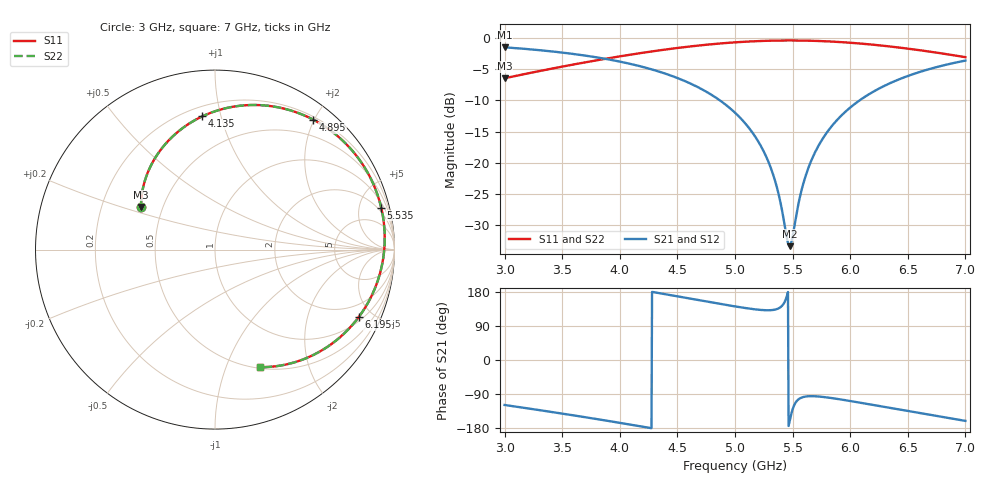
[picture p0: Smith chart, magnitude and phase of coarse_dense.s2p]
! yapnr rf: a12-stub-osh-m-m-eq, footprint re-simulated (optimization grid)
! spec sha256 212370086b4687dca439e447b7498c12f5e0d49e4cea784f2bb96e43c0feaf86
! 2 ports renormalized to 50 ohm, e^(+jwt) convention
# GHz S RI R 50
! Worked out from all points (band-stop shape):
!   811 points, 3 GHz to 7 GHz, reference 50 ohm
!   highest |S21| = -1.49 dB at 3 GHz (marker M1); lowest = -33.4 dB at 5.475 GHz (marker M2)
!   |S21| within 3 dB of the highest: start of sweep to 4.169 GHz; 6.787 GHz to end of sweep
!   lowest |S11| = -6.5 dB at 3 GHz (marker M3), VSWR 2.82, Z = 18.9 + j11.6 ohm
!   |S11| at or under -10 dB: nowhere
!   |S22| runs from -6.5 to -0.4 dB; largest |S21 - S12| = 0
!   S11 on the Smith chart (normalised r, x): 3 GHz: 0.38, +0.23; 4.135 GHz: 0.26, +0.87; 4.895 GHz: 0.24, +1.99; 5.535 GHz: 1.45, +7.77; 6.195 GHz: 1.20, -4.14; 7 GHz: 0.51, -1.33
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3  -0.4123 0.2376  -0.4043 -0.7388  -0.4043 -0.7388  -0.4123 0.2376
3.67  -0.3058 0.5517  -0.6284 -0.3701  -0.6284 -0.3701  -0.3058 0.5517
4.135  -0.0707 0.7424  -0.602 -0.0772  -0.602 -0.0772  -0.0707 0.7424
4.335  0.073 0.7907  -0.5392 0.0296  -0.5392 0.0296  0.073 0.7907
4.625  0.314 0.799  -0.4039 0.1366  -0.4039 0.1366  0.314 0.799
4.895  0.5481 0.7237  -0.2541 0.166  -0.2541 0.166  0.5481 0.7237
5  0.6339 0.6709  -0.197 0.157  -0.197 0.157  0.6339 0.6709
5.18  0.7647 0.5515  -0.1098 0.1158  -0.1098 0.1158  0.7647 0.5515
5.285  0.8277 0.4669  -0.0689 0.0785  -0.0689 0.0785  0.8277 0.4669
5.365  0.8676 0.3964  -0.044 0.0448  -0.044 0.0448  0.8676 0.3964
5.45  0.9015 0.317  -0.0245 0.0051  -0.0245 0.0051  0.9015 0.317
5.475  0.9097 0.2929  -0.0202 -0.00717  -0.0202 -0.00717  0.9097 0.2929
5.495  0.9157 0.2735  -0.0172 -0.0172  -0.0172 -0.0172  0.9157 0.2735
5.535  0.926 0.2341  -0.0126 -0.0374  -0.0126 -0.0374  0.926 0.2341
5.595  0.9374 0.1743  -0.00904 -0.0685  -0.00904 -0.0685  0.9374 0.1743
5.67  0.9449 0.0989  -0.0102 -0.1077  -0.0102 -0.1077  0.9449 0.0989
5.775  0.9424 -0.00618  -0.0224 -0.1615  -0.0224 -0.1615  0.9424 -0.00618
5.91  0.9181 -0.1368  -0.055 -0.2256  -0.055 -0.2256  0.9181 -0.1368
6.195  0.8001 -0.3767  -0.1757 -0.3242  -0.1757 -0.3242  0.8001 -0.3767
6.335  0.7172 -0.4696  -0.2525 -0.3478  -0.2525 -0.3478  0.7172 -0.4696
6.64  0.5069 -0.6055  -0.4324 -0.3355  -0.4324 -0.3355  0.5069 -0.6055
7  0.2527 -0.6549  -0.6219 -0.2184  -0.6219 -0.2184  0.2527 -0.6549
